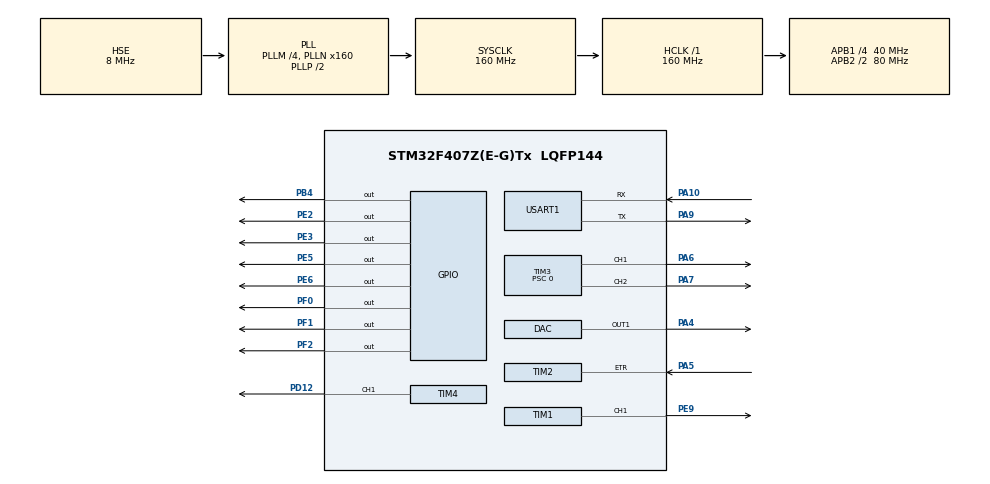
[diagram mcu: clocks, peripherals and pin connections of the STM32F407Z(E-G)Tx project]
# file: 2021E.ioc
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DAC.DAC_OutputBuffer=DAC_OUTPUTBUFFER_ENABLE
DAC.DAC_Trigger=DAC_TRIGGER_NONE
FREERTOS.Tasks01=defaultTask,24,128,StartDefaultTask,Default,NULL,Dynamic,NULL,NULL;LEDTask,8,128,StartTask02,Default,NULL,Dynamic,NULL,NULL;myTask03,8,128,StartTask03,Default,NULL,Dynamic,NULL,NULL
Mcu.Family=STM32F4
Mcu.Name=STM32F407Z(E-G)Tx
Mcu.Package=LQFP144
NVIC.PriorityGroup=NVIC_PRIORITYGROUP_4
NVIC.TIM1_UP_TIM10_IRQn=true\:5\:0\:false\:false\:true\:false\:false\:true\:true
NVIC.TIM5_IRQn=true\:5\:0\:false\:false\:true\:true\:true\:true\:true
NVIC.TIM6_DAC_IRQn=true\:5\:0\:false\:false\:true\:true\:false\:true\:true
NVIC.TimeBase=TIM1_UP_TIM10_IRQn
NVIC.TimeBaseIP=TIM10
PA10.Mode=Asynchronous
PA10.Signal=USART1_RX
PA13.Mode=Serial_Wire
PA13.Signal=SYS_JTMS-SWDIO
PA14.Mode=Serial_Wire
PA14.Signal=SYS_JTCK-SWCLK
PA4.Signal=COMP_DAC1_group
PA5.Signal=S_TIM2_CH1_ETR
PA6.GPIO_PuPd=GPIO_PULLDOWN
PA6.GPIO_Speed=GPIO_SPEED_FREQ_HIGH
PA6.Signal=S_TIM3_CH1
PA7.Signal=S_TIM3_CH2
PA9.Mode=Asynchronous
PA9.Signal=USART1_TX
PB4.GPIO_Speed=GPIO_SPEED_FREQ_VERY_HIGH
PB4.PinState=GPIO_PIN_SET
PB4.Signal=GPIO_Output
PD12.GPIO_PuPd=GPIO_PULLDOWN
PD12.GPIO_Speed=GPIO_SPEED_FREQ_HIGH
PD12.Signal=S_TIM4_CH1
PE2.GPIO_PuPd=GPIO_PULLUP
PE2.GPIO_Speed=GPIO_SPEED_FREQ_HIGH
PE2.Signal=GPIO_Output
PE3.GPIO_PuPd=GPIO_PULLUP
PE3.GPIO_Speed=GPIO_SPEED_FREQ_HIGH
PE3.Signal=GPIO_Output
PE5.GPIO_Speed=GPIO_SPEED_FREQ_HIGH
PE5.Signal=GPIO_Output
PE6.GPIO_Speed=GPIO_SPEED_FREQ_HIGH
PE6.Signal=GPIO_Output
PE9.GPIO_PuPd=GPIO_PULLDOWN
PE9.GPIO_Speed=GPIO_SPEED_FREQ_HIGH
PE9.Signal=S_TIM1_CH1
PF0.GPIO_Speed=GPIO_SPEED_FREQ_HIGH
PF0.Signal=GPIO_Output
PF1.GPIO_Speed=GPIO_SPEED_FREQ_HIGH
PF1.Signal=GPIO_Output
PF2.GPIO_Speed=GPIO_SPEED_FREQ_HIGH
PF2.Signal=GPIO_Output
PH0-OSC_IN.Mode=HSE-External-Oscillator
PH0-OSC_IN.Signal=RCC_OSC_IN
PH1-OSC_OUT.Mode=HSE-External-Oscillator
PH1-OSC_OUT.Signal=RCC_OSC_OUT
ProjectManager.HeapSize=0x200
ProjectManager.StackSize=0x2000
ProjectManager.TargetToolchain=MDK-ARM V5.32
RCC.48MHZClocksFreq_Value=80000000
RCC.AHBFreq_Value=160000000
RCC.APB1CLKDivider=RCC_HCLK_DIV4
RCC.APB1Freq_Value=40000000
RCC.APB1TimFreq_Value=80000000
RCC.APB2CLKDivider=RCC_HCLK_DIV2
RCC.APB2Freq_Value=80000000
RCC.APB2TimFreq_Value=160000000
RCC.CortexFreq_Value=160000000
RCC.HCLKFreq_Value=160000000
RCC.HSE_VALUE=8000000
RCC.HSI_VALUE=16000000
RCC.LSE_VALUE=32768
RCC.PLLM=4
RCC.PLLN=160
RCC.PLLSourceVirtual=RCC_PLLSOURCE_HSE
RCC.SYSCLKFreq_VALUE=160000000
RCC.SYSCLKSource=RCC_SYSCLKSOURCE_PLLCLK
RCC.VCOOutputFreq_Value=320000000
SH.COMP_DAC1_group.0=DAC_OUT1,DAC_OUT1
SH.S_TIM1_CH1.0=TIM1_CH1,PWM Generation1 CH1
SH.S_TIM2_CH1_ETR.0=TIM2_ETR,ClockSourceETR_Mode2
SH.S_TIM3_CH1.0=TIM3_CH1,PWM Generation1 CH1
SH.S_TIM3_CH2.0=TIM3_CH2,PWM Generation2 CH2
SH.S_TIM4_CH1.0=TIM4_CH1,PWM Generation1 CH1
TIM1.AutoReloadPreload=TIM_AUTORELOAD_PRELOAD_ENABLE
TIM1.Channel-PWM\ Generation1\ CH1=TIM_CHANNEL_1
TIM1.OC1Preload_PWM=ENABLE
TIM1.Period=160-1
TIM1.Prescaler=0
TIM1.Pulse-PWM\ Generation1\ CH1=80-1
TIM3.AutoReloadPreload=TIM_AUTORELOAD_PRELOAD_ENABLE
TIM3.Channel-PWM\ Generation1\ CH1=TIM_CHANNEL_1
TIM3.Channel-PWM\ Generation2\ CH2=TIM_CHANNEL_2
TIM3.OC1Preload_PWM=ENABLE
TIM3.Period=166-1
TIM3.Prescaler=0
TIM3.Pulse-PWM\ Generation1\ CH1=84-1
TIM3.Pulse-PWM\ Generation2\ CH2=84-1
TIM4.AutoReloadPreload=TIM_AUTORELOAD_PRELOAD_ENABLE
TIM4.Channel-PWM\ Generation1\ CH1=TIM_CHANNEL_1
TIM4.Period=128-1
TIM4.Prescaler=0
TIM4.Pulse-PWM\ Generation1\ CH1=67-1
TIM5.Period=400-1
TIM5.Prescaler=800-1
USART1.VirtualMode=VM_ASYNC
VP_FREERTOS_VS_CMSIS_V2.Mode=CMSIS_V2
VP_SYS_VS_tim10.Mode=TIM10
VP_TIM1_VS_ClockSourceINT.Mode=Internal
VP_TIM3_VS_ClockSourceINT.Mode=Internal
VP_TIM4_VS_ClockSourceINT.Mode=Internal
VP_TIM5_VS_ClockSourceINT.Mode=Internal
board=custom

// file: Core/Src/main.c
/* USER CODE BEGIN Header */
/**
  ******************************************************************************
  * @file           : main.c
  * @brief          : Main program body
  ******************************************************************************
  * @attention
  *
  * Copyright (c) 2025 STMicroelectronics.
  * All rights reserved.
  *
  * This software is licensed under terms that can be found in the LICENSE file
  * in the root directory of this software component.
  * If no LICENSE file comes with this software, it is provided AS-IS.
  *
  ******************************************************************************
  */
/* USER CODE END Header */
#include "main.h"
#include "cmsis_os.h"
#include "dac.h"
#include "tim.h"
#include "usart.h"
#include "gpio.h"

/* USER CODE BEGIN Includes */
#include "stdio.h"
#include "lcd.h"
#include "TIM1637.h"
#include "TLV56XX_V1.h"
/* USER CODE END Includes */

void SystemClock_Config(void);
void MX_FREERTOS_Init(void);
/* USER CODE BEGIN PFP */

void set_dac_voltage(float voltage);

/* USER CODE END PFP */

int main(void)
{

  /* MCU Configuration--------------------------------------------------------*/

  /* Reset of all peripherals, Initializes the Flash interface and the Systick. */
  HAL_Init();

  /* Configure the system clock */
  SystemClock_Config();

  /* Initialize all configured peripherals */
  MX_GPIO_Init();
  MX_USART1_UART_Init();
  MX_TIM5_Init();
  MX_TIM2_Init();
  MX_DAC_Init();
  MX_TIM1_Init();
  MX_TIM3_Init();
  MX_TIM4_Init();
  /* USER CODE BEGIN 2 */
  //lcd_init();
  HAL_TIM_Base_Start_IT( &htim5 );
  HAL_TIM_Base_Start( &htim2 );
  HAL_DAC_Start(&hdac , DAC_CHANNEL_1);
  HAL_TIM_PWM_Start(&htim1, TIM_CHANNEL_1);//1MHz，对应数字部分高通
  HAL_TIM_PWM_Start(&htim3, TIM_CHANNEL_1);//480kHz，对应模拟部分
  HAL_TIM_PWM_Start(&htim4, TIM_CHANNEL_1);//600kHz，对应数字部分低通

  TLV_DAC_Init();
  TLV_DAC_Output( DAC_CH1 , 1.1f );
  /* USER CODE END 2 */

  /* Init scheduler */
  osKernelInitialize();

  /* Call init function for freertos objects (in cmsis_os2.c) */
  MX_FREERTOS_Init();

  /* Start scheduler */
  osKernelStart();

  /* We should never get here as control is now taken by the scheduler */

  /* Infinite loop */
  while (1)
  {

  }
}

void SystemClock_Config(void)
{
  RCC_OscInitTypeDef RCC_OscInitStruct = {0};
  RCC_ClkInitTypeDef RCC_ClkInitStruct = {0};

  /** Configure the main internal regulator output voltage
  */
  __HAL_RCC_PWR_CLK_ENABLE();
  __HAL_PWR_VOLTAGESCALING_CONFIG(PWR_REGULATOR_VOLTAGE_SCALE1);

  /** Initializes the RCC Oscillators according to the specified parameters
  * in the RCC_OscInitTypeDef structure.
  */
  RCC_OscInitStruct.OscillatorType = RCC_OSCILLATORTYPE_HSE;
  RCC_OscInitStruct.HSEState = RCC_HSE_ON;
  RCC_OscInitStruct.PLL.PLLState = RCC_PLL_ON;
  RCC_OscInitStruct.PLL.PLLSource = RCC_PLLSOURCE_HSE;
  RCC_OscInitStruct.PLL.PLLM = 4;
  RCC_OscInitStruct.PLL.PLLN = 160;
  RCC_OscInitStruct.PLL.PLLP = RCC_PLLP_DIV2;
  RCC_OscInitStruct.PLL.PLLQ = 4;
  if (HAL_RCC_OscConfig(&RCC_OscInitStruct) != HAL_OK)
  {
    Error_Handler();
  }

  /** Initializes the CPU, AHB and APB buses clocks
  */
  RCC_ClkInitStruct.ClockType = RCC_CLOCKTYPE_HCLK|RCC_CLOCKTYPE_SYSCLK
                              |RCC_CLOCKTYPE_PCLK1|RCC_CLOCKTYPE_PCLK2;
  RCC_ClkInitStruct.SYSCLKSource = RCC_SYSCLKSOURCE_PLLCLK;
  RCC_ClkInitStruct.AHBCLKDivider = RCC_SYSCLK_DIV1;
  RCC_ClkInitStruct.APB1CLKDivider = RCC_HCLK_DIV4;
  RCC_ClkInitStruct.APB2CLKDivider = RCC_HCLK_DIV2;

  if (HAL_RCC_ClockConfig(&RCC_ClkInitStruct, FLASH_LATENCY_5) != HAL_OK)
  {
    Error_Handler();
  }
}

/* USER CODE BEGIN 4 */

//�ض���printf
int fputc(int ch,FILE *f)
{
  uint8_t temp[1]={ch};
  HAL_UART_Transmit(&huart1,temp,1,2);
  return ch;
}

void set_dac_voltage(float voltage)
{
    /* STM32F4 DAC 为 3.3V 参考电压 */
    float vref = 3.3f;
    uint32_t resolution = 4095; // 12 位 DAC (0-4095)

    // 计算 DAC 值
    uint32_t dac_value = (uint32_t)((voltage / vref) * resolution);

    // 限幅保护 (0-4095)
    if(dac_value > resolution) dac_value = resolution;

    // 设置 DAC 输出
    HAL_DAC_SetValue(&hdac, DAC_CHANNEL_1, DAC_ALIGN_12B_R, dac_value);
}
/* USER CODE END 4 */

void HAL_TIM_PeriodElapsedCallback(TIM_HandleTypeDef *htim)
{
  if (htim->Instance == TIM10)
  {
    HAL_IncTick();
  }
}

void Error_Handler(void)
{
  __disable_irq();
  while (1)
  {
  }
}

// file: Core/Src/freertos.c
/* USER CODE BEGIN Header */
/**
  ******************************************************************************
  * File Name          : freertos.c
  * Description        : Code for freertos applications
  ******************************************************************************
  * @attention
  *
  * Copyright (c) 2025 STMicroelectronics.
  * All rights reserved.
  *
  * This software is licensed under terms that can be found in the LICENSE file
  * in the root directory of this software component.
  * If no LICENSE file comes with this software, it is provided AS-IS.
  *
  ******************************************************************************
  */
/* USER CODE END Header */

#include "FreeRTOS.h"
#include "task.h"
#include "main.h"
#include "cmsis_os.h"

/* USER CODE BEGIN Includes */
#include "TIM1637.h"
#include "AD_DA.h"
/* USER CODE END Includes */

/* USER CODE BEGIN Variables */
volatile uint32_t last_valid_time = 0;
uint8_t display_flag = 0;
/* USER CODE END Variables */
/* Definitions for defaultTask */
osThreadId_t defaultTaskHandle;
const osThreadAttr_t defaultTask_attributes = {
  .name = "defaultTask",
  .stack_size = 128 * 4,
  .priority = (osPriority_t) osPriorityNormal,
};
/* Definitions for LEDTask */
osThreadId_t LEDTaskHandle;
const osThreadAttr_t LEDTask_attributes = {
  .name = "LEDTask",
  .stack_size = 128 * 4,
  .priority = (osPriority_t) osPriorityLow,
};
/* Definitions for myTask03 */
osThreadId_t myTask03Handle;
const osThreadAttr_t myTask03_attributes = {
  .name = "myTask03",
  .stack_size = 128 * 4,
  .priority = (osPriority_t) osPriorityLow,
};

void StartDefaultTask(void *argument);
void StartTask02(void *argument);
void StartTask03(void *argument);

void MX_FREERTOS_Init(void); /* (MISRA C 2004 rule 8.1) */

void MX_FREERTOS_Init(void) {

  /* Create the thread(s) */
  /* creation of defaultTask */
  defaultTaskHandle = osThreadNew(StartDefaultTask, NULL, &defaultTask_attributes);

  /* creation of LEDTask */
  LEDTaskHandle = osThreadNew(StartTask02, NULL, &LEDTask_attributes);

  /* creation of myTask03 */
  myTask03Handle = osThreadNew(StartTask03, NULL, &myTask03_attributes);

}

void StartDefaultTask(void *argument)
{
  for(;;)
  {
    osDelay(1);
  }
}

void StartTask02(void *argument)
{
  /* USER CODE BEGIN StartTask02 */
  uint32_t current_time;
  /* Infinite loop */
  for(;;)
  {
	current_time = osKernelGetTickCount();

    //
    if ((current_time - last_valid_time) > TIMEOUT_MS) {
		display_flag = 0;
    }

	if( display_flag ){
		TM1637_display(mapped[0], mapped[1], mapped[2], mapped[3], 0);
	}
	else{
		TM1637_display(21, 21, 21, 21, 0);
	}

////    osDelay(1);
  }
  /* USER CODE END StartTask02 */
}

void StartTask03(void *argument)
{
  /* USER CODE BEGIN StartTask03 */
  /* Infinite loop */
  for(;;)
  {
	if( tim2_ready ){
		display_flag = 1;
		last_valid_time = osKernelGetTickCount();
		process_bit(signal_flag);
		tim2_ready = 0;
	}
    osDelay(1);
  }
  /* USER CODE END StartTask03 */
}
